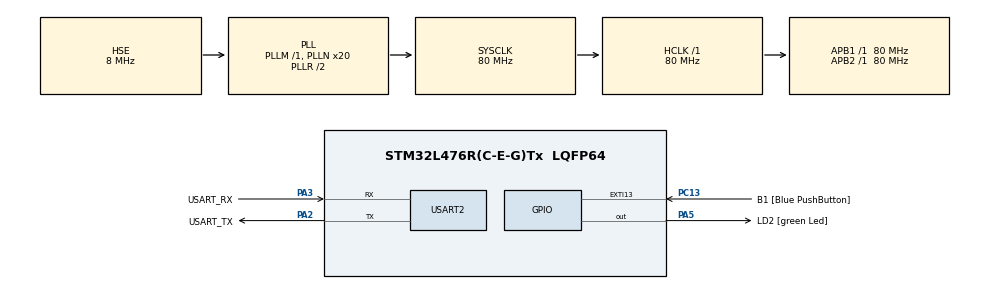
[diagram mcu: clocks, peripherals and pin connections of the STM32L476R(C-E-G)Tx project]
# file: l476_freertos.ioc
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FREERTOS.Tasks01=usart_Task1,0,128,StartTask1,Default,NULL,Dynamic,NULL,NULL;key_Task2,-3,128,StartTask2,Default,NULL,Dynamic,NULL,NULL;led_Task3,-3,128,StartTask3,Default,NULL,Dynamic,NULL,NULL;confirmTask4,-3,128,StartTask4,Default,NULL,Dynamic,NULL,NULL
Mcu.Family=STM32L4
Mcu.Name=STM32L476R(C-E-G)Tx
Mcu.Package=LQFP64
NVIC.EXTI15_10_IRQn=true\:6\:0\:true\:false\:true\:true\:true\:true
NVIC.PriorityGroup=NVIC_PRIORITYGROUP_4
NVIC.TIM6_DAC_IRQn=true\:0\:0\:false\:false\:true\:false\:false\:true
NVIC.TimeBase=TIM6_DAC_IRQn
NVIC.TimeBaseIP=TIM6
PA13\ (JTMS-SWDIO).GPIO_Label=TMS
PA13\ (JTMS-SWDIO).Mode=Serial_Wire
PA13\ (JTMS-SWDIO).Signal=SYS_JTMS-SWDIO
PA14\ (JTCK-SWCLK).GPIO_Label=TCK
PA14\ (JTCK-SWCLK).Mode=Serial_Wire
PA14\ (JTCK-SWCLK).Signal=SYS_JTCK-SWCLK
PA2.GPIO_Label=USART_TX
PA2.GPIO_Mode=GPIO_MODE_AF_PP
PA2.GPIO_PuPd=GPIO_NOPULL
PA2.GPIO_Speed=GPIO_SPEED_FREQ_VERY_HIGH
PA2.Mode=Asynchronous
PA2.Signal=USART2_TX
PA3.GPIO_Label=USART_RX
PA3.GPIO_Mode=GPIO_MODE_AF_PP
PA3.GPIO_PuPd=GPIO_NOPULL
PA3.GPIO_Speed=GPIO_SPEED_FREQ_VERY_HIGH
PA3.Mode=Asynchronous
PA3.Signal=USART2_RX
PA5.GPIO_Label=LD2 [green Led]
PA5.GPIO_ModeDefaultOutputPP=GPIO_MODE_OUTPUT_PP
PA5.GPIO_PuPd=GPIO_NOPULL
PA5.GPIO_Speed=GPIO_SPEED_FREQ_LOW
PA5.Signal=GPIO_Output
PB3\ (JTDO-TRACESWO).GPIO_Label=SWO
PB3\ (JTDO-TRACESWO).Signal=SYS_JTDO-SWO
PC13.GPIO_Label=B1 [Blue PushButton]
PC13.GPIO_ModeDefaultEXTI=GPIO_MODE_IT_RISING_FALLING
PC13.GPIO_PuPd=GPIO_PULLUP
PC13.Signal=GPXTI13
PC14-OSC32_IN\ (PC14).Signal=RCC_OSC32_IN
PC15-OSC32_OUT\ (PC15).Signal=RCC_OSC32_OUT
PH0-OSC_IN\ (PH0).Mode=HSE-External-Oscillator
PH0-OSC_IN\ (PH0).Signal=RCC_OSC_IN
PH1-OSC_OUT\ (PH1).Mode=HSE-External-Oscillator
PH1-OSC_OUT\ (PH1).Signal=RCC_OSC_OUT
ProjectManager.HeapSize=0x200
ProjectManager.StackSize=0x400
ProjectManager.TargetToolchain=MDK-ARM V5.27
RCC.ADCFreq_Value=32000000
RCC.AHBFreq_Value=80000000
RCC.APB1Freq_Value=80000000
RCC.APB1TimFreq_Value=80000000
RCC.APB2Freq_Value=80000000
RCC.APB2TimFreq_Value=80000000
RCC.CortexFreq_Value=80000000
RCC.HCLKFreq_Value=80000000
RCC.HSE_VALUE=8000000
RCC.HSI_VALUE=16000000
RCC.LSE_VALUE=32768
RCC.MSI_VALUE=4000000
RCC.PLLN=20
RCC.PLLSourceVirtual=RCC_PLLSOURCE_HSE
RCC.PREFETCH_ENABLE=1
RCC.SYSCLKFreq_VALUE=80000000
RCC.SYSCLKSource=RCC_SYSCLKSOURCE_PLLCLK
RCC.USBFreq_Value=32000000
RCC.VCOOutputFreq_Value=160000000
USART2.VirtualMode-Asynchronous=VM_ASYNC
VP_FREERTOS_VS_CMSIS_V1.Mode=CMSIS_V1
VP_SYS_VS_tim6.Mode=TIM6
board=NUCLEO-L476RG

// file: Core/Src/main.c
/* USER CODE BEGIN Header */
/**
  ******************************************************************************
  * @file           : main.c
  * @brief          : Main program body
  ******************************************************************************
  * @attention
  *
  * <h2><center>&copy; Copyright (c) 2020 STMicroelectronics.
  * All rights reserved.</center></h2>
  *
  * This software component is licensed by ST under Ultimate Liberty license
  * SLA0044, the "License"; You may not use this file except in compliance with
  * the License. You may obtain a copy of the License at:
  *                             www.st.com/SLA0044
  *
  ******************************************************************************
  */
/* USER CODE END Header */

#include "main.h"
#include "cmsis_os.h"
#include "usart.h"
#include "gpio.h"

void SystemClock_Config(void);
void MX_FREERTOS_Init(void);

int main(void)
{

  /* MCU Configuration--------------------------------------------------------*/

  /* Reset of all peripherals, Initializes the Flash interface and the Systick. */
  HAL_Init();

  /* Configure the system clock */
  SystemClock_Config();

  /* Initialize all configured peripherals */
  MX_GPIO_Init();
  MX_USART2_UART_Init();

  /* Call init function for freertos objects (in freertos.c) */
  MX_FREERTOS_Init();

  /* Start scheduler */
  osKernelStart();

  /* We should never get here as control is now taken by the scheduler */

  /* Infinite loop */
  while (1)
  {

  }
}

void SystemClock_Config(void)
{
  RCC_OscInitTypeDef RCC_OscInitStruct = {0};
  RCC_ClkInitTypeDef RCC_ClkInitStruct = {0};
  RCC_PeriphCLKInitTypeDef PeriphClkInit = {0};

  /** Initializes the CPU, AHB and APB busses clocks
  */
  RCC_OscInitStruct.OscillatorType = RCC_OSCILLATORTYPE_HSE;
  RCC_OscInitStruct.HSEState = RCC_HSE_ON;
  RCC_OscInitStruct.PLL.PLLState = RCC_PLL_ON;
  RCC_OscInitStruct.PLL.PLLSource = RCC_PLLSOURCE_HSE;
  RCC_OscInitStruct.PLL.PLLM = 1;
  RCC_OscInitStruct.PLL.PLLN = 20;
  RCC_OscInitStruct.PLL.PLLP = RCC_PLLP_DIV7;
  RCC_OscInitStruct.PLL.PLLQ = RCC_PLLQ_DIV2;
  RCC_OscInitStruct.PLL.PLLR = RCC_PLLR_DIV2;
  if (HAL_RCC_OscConfig(&RCC_OscInitStruct) != HAL_OK)
  {
    Error_Handler();
  }
  /** Initializes the CPU, AHB and APB busses clocks
  */
  RCC_ClkInitStruct.ClockType = RCC_CLOCKTYPE_HCLK|RCC_CLOCKTYPE_SYSCLK
                              |RCC_CLOCKTYPE_PCLK1|RCC_CLOCKTYPE_PCLK2;
  RCC_ClkInitStruct.SYSCLKSource = RCC_SYSCLKSOURCE_PLLCLK;
  RCC_ClkInitStruct.AHBCLKDivider = RCC_SYSCLK_DIV1;
  RCC_ClkInitStruct.APB1CLKDivider = RCC_HCLK_DIV1;
  RCC_ClkInitStruct.APB2CLKDivider = RCC_HCLK_DIV1;

  if (HAL_RCC_ClockConfig(&RCC_ClkInitStruct, FLASH_LATENCY_4) != HAL_OK)
  {
    Error_Handler();
  }
  PeriphClkInit.PeriphClockSelection = RCC_PERIPHCLK_USART2;
  PeriphClkInit.Usart2ClockSelection = RCC_USART2CLKSOURCE_PCLK1;
  if (HAL_RCCEx_PeriphCLKConfig(&PeriphClkInit) != HAL_OK)
  {
    Error_Handler();
  }
  /** Configure the main internal regulator output voltage
  */
  if (HAL_PWREx_ControlVoltageScaling(PWR_REGULATOR_VOLTAGE_SCALE1) != HAL_OK)
  {
    Error_Handler();
  }
}

void HAL_TIM_PeriodElapsedCallback(TIM_HandleTypeDef *htim)
{
  if (htim->Instance == TIM6) {
    HAL_IncTick();
  }
}

void Error_Handler(void)
{
}

/************************ (C) COPYRIGHT STMicroelectronics *****END OF FILE****/

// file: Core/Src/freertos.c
/* USER CODE BEGIN Header */
/**
  ******************************************************************************
  * File Name          : freertos.c
  * Description        : Code for freertos applications
  ******************************************************************************
  * @attention
  *
  * <h2><center>&copy; Copyright (c) 2020 STMicroelectronics.
  * All rights reserved.</center></h2>
  *
  * This software component is licensed by ST under Ultimate Liberty license
  * SLA0044, the "License"; You may not use this file except in compliance with
  * the License. You may obtain a copy of the License at:
  *                             www.st.com/SLA0044
  *
  ******************************************************************************
  */
/* USER CODE END Header */

#include "FreeRTOS.h"
#include "task.h"
#include "main.h"
#include "cmsis_os.h"

/* USER CODE BEGIN Includes */
#include "stdio.h"
#include "gpio.h"
  extern KEY_STA key_status;
/* USER CODE END Includes */

/* USER CODE BEGIN Variables */
  uint8_t  interrupt_flag = 0;
	// uint8_t  raising_flag = 0;
/* USER CODE END Variables */
osThreadId usart_Task1Handle;
osThreadId key_Task2Handle;
osThreadId led_Task3Handle;
osThreadId confirmTask4Handle;

void StartTask1(void const * argument);
void StartTask2(void const * argument);
void StartTask3(void const * argument);
void StartTask4(void const * argument);

void MX_FREERTOS_Init(void); /* (MISRA C 2004 rule 8.1) */

/* GetIdleTaskMemory prototype (linked to static allocation support) */
void vApplicationGetIdleTaskMemory( StaticTask_t **ppxIdleTaskTCBBuffer, StackType_t **ppxIdleTaskStackBuffer, uint32_t *pulIdleTaskStackSize );

/* USER CODE BEGIN GET_IDLE_TASK_MEMORY */
static StaticTask_t xIdleTaskTCBBuffer;
static StackType_t xIdleStack[configMINIMAL_STACK_SIZE];

void vApplicationGetIdleTaskMemory( StaticTask_t **ppxIdleTaskTCBBuffer, StackType_t **ppxIdleTaskStackBuffer, uint32_t *pulIdleTaskStackSize )
{
  *ppxIdleTaskTCBBuffer = &xIdleTaskTCBBuffer;
  *ppxIdleTaskStackBuffer = &xIdleStack[0];
  *pulIdleTaskStackSize = configMINIMAL_STACK_SIZE;
  /* place for user code */
}
/* USER CODE END GET_IDLE_TASK_MEMORY */

void MX_FREERTOS_Init(void) {

  /* Create the thread(s) */
  /* definition and creation of usart_Task1 */
  osThreadDef(usart_Task1, StartTask1, osPriorityNormal, 0, 128);
  usart_Task1Handle = osThreadCreate(osThread(usart_Task1), NULL);

  /* definition and creation of key_Task2 */
  osThreadDef(key_Task2, StartTask2, osPriorityIdle, 0, 128);
  key_Task2Handle = osThreadCreate(osThread(key_Task2), NULL);

  /* definition and creation of led_Task3 */
  osThreadDef(led_Task3, StartTask3, osPriorityIdle, 0, 128);
  led_Task3Handle = osThreadCreate(osThread(led_Task3), NULL);

  /* definition and creation of confirmTask4 */
  osThreadDef(confirmTask4, StartTask4, osPriorityIdle, 0, 128);
  confirmTask4Handle = osThreadCreate(osThread(confirmTask4), NULL);

}

void StartTask1(void const * argument)
{
  /* USER CODE BEGIN StartTask1 */
  /* Infinite loop */
  for(;;)
  {
		printf("task1 is running \r\n");
    osDelay(1000);
  }
  /* USER CODE END StartTask1 */
}

void StartTask2(void const * argument)
{
  /* USER CODE BEGIN StartTask2 */
  /* Infinite loop */
  for(;;)
  {

		if( key_status == KEY_ON )
			{
				osThreadSuspend (led_Task3Handle);
				osThreadSuspend (usart_Task1Handle );

			}
			else {
				osThreadResume(led_Task3Handle);
				osThreadResume(usart_Task1Handle );
		  }
		osDelay(800);

  }
  /* USER CODE END StartTask2 */
}

void StartTask3(void const * argument)
{
  /* USER CODE BEGIN StartTask3 */
  /* Infinite loop */
  for(;;)
  {
		HAL_GPIO_TogglePin(LD2_GPIO_Port, LD2_Pin);
    osDelay(1000);
  }
  /* USER CODE END StartTask3 */
}

void StartTask4(void const * argument)
{
  /* USER CODE BEGIN StartTask4 */
  /* Infinite loop */
  for(;;)
  {
		if(interrupt_flag == 1)
		{
		 if( (HAL_GPIO_ReadPin(B1_GPIO_Port, B1_Pin)) == RESET )
			 {
				 osDelay(30);
	    if( (HAL_GPIO_ReadPin(B1_GPIO_Port, B1_Pin)) == RESET )
			  {
				   key_status = KEY_ON;
				}
			}
      else if ((HAL_GPIO_ReadPin(B1_GPIO_Port, B1_Pin)) == SET )
			{
				  osDelay(30);
				if( (HAL_GPIO_ReadPin(B1_GPIO_Port, B1_Pin)) == SET )
			  {
				   key_status = KEY_OFF;
				}
			}
         // key_status = KEY_UNKNOW;

			}

      osDelay(400);
  }
  /* USER CODE END StartTask4 */
}

/************************ (C) COPYRIGHT STMicroelectronics *****END OF FILE****/
